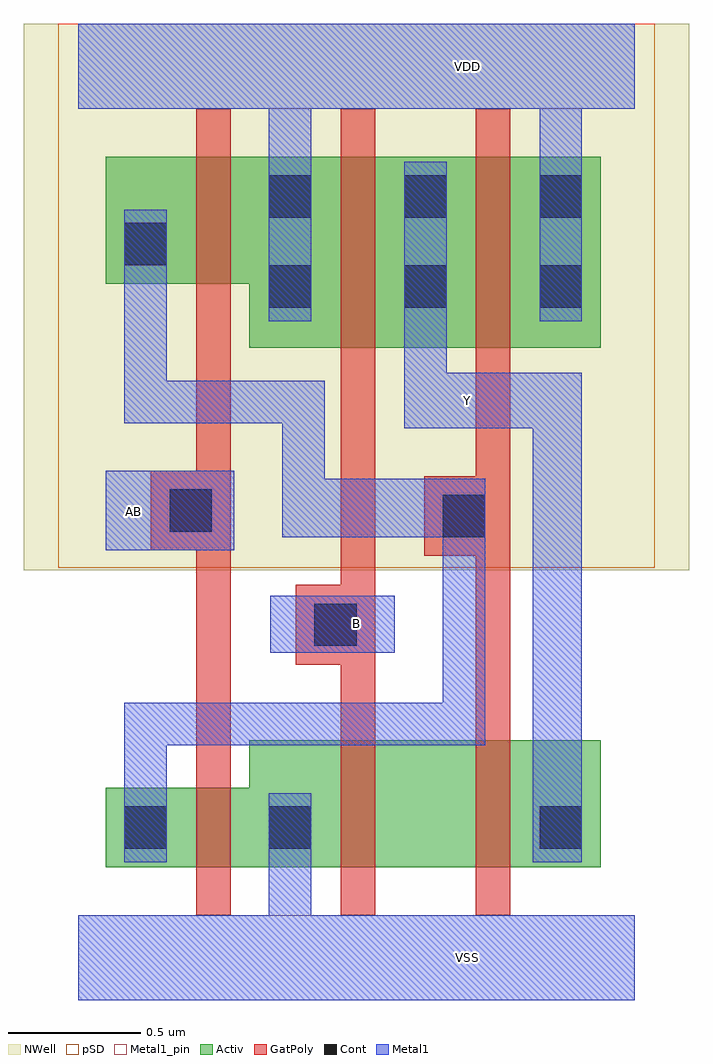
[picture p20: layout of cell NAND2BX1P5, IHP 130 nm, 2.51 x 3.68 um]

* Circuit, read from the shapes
.subckt NAND2BX1P5 AB B VDD VSS Y
XM1 VSS AB n1 VSUBS sg13_lv_nmos w=0.3u l=0.13u
XM2 n2 B VSS VSUBS sg13_lv_nmos w=0.48u l=0.13u
XM3 Y n1 n2 VSUBS sg13_lv_nmos w=0.48u l=0.13u
XM4 VDD AB n1 n3 sg13_lv_pmos w=0.48u l=0.13u
XM5 Y B VDD n3 sg13_lv_pmos w=0.72u l=0.13u
XM6 VDD n1 Y n3 sg13_lv_pmos w=0.72u l=0.13u
.ends

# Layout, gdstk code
import gdstk
lib = gdstk.Library(unit=1e-6, precision=1e-09)
def R(c, l, rs):  # rectangles x0, y0, x1, y1
    for r in rs: c.add(gdstk.rectangle(r[:2], r[2:], *l))
def A(c, l, x, y, w, h, nx, ny, dx, dy):  # array of equal rectangles
    R(c, l, [(x+i*dx, y+j*dy, x+i*dx+w, y+j*dy+h) for i in range(nx) for j in range(ny)])
def P(c, l, *ps):  # polygons
    for p in ps: c.add(gdstk.Polygon(p, *l))
Activ = (1, 0)
GatPoly = (5, 0)
Cont = (6, 0)
Metal1 = (8, 0)
Metal1_pin = (8, 2)
pSD = (14, 0)
NWell = (31, 0)

nand2bx1p5 = lib.new_cell('NAND2BX1P5')
P(nand2bx1p5, Activ, [(0.105,0.34),(0.105,0.64),(0.645,0.64),(0.645,0.82),(1.97,0.82),(1.97,0.34)],
  [(0.645,2.3),(0.645,2.54),(0.105,2.54),(0.105,3.02),(1.97,3.02),(1.97,2.3)])
P(nand2bx1p5, GatPoly, [(0.445,0.16),(0.445,1.535),(0.275,1.535),(0.275,1.835),(0.445,1.835),(0.445,3.2),(0.575,3.2),(0.575,0.16)],
  [(0.99,0.16),(0.99,1.105),(0.82,1.105),(0.82,1.405),(0.99,1.405),(0.99,3.2),(1.12,3.2),(1.12,0.16)],
  [(1.5,0.16),(1.5,1.515),(1.305,1.515),(1.305,1.815),(1.5,1.815),(1.5,3.2),(1.63,3.2),(1.63,0.16)])
A(nand2bx1p5, Cont, 0.72, 2.45, 0.16, 0.16, 3, 2, 0.51, 0.34)
R(nand2bx1p5, Cont, [(0.175,0.41,0.335,0.57), (0.72,0.41,0.88,0.57), (1.74,0.41,1.9,0.57), (0.89,1.175,1.05,1.335), (1.375,1.585,1.535,1.745), (0.345,1.605,0.505,1.765), (0.175,2.61,0.335,2.77)])
R(nand2bx1p5, Metal1, [(0.725,1.15,1.195,1.365), (0.105,1.535,0.59,1.835), (0.72,2.4,0.88,3.2), (1.74,2.4,1.9,3.2), (0,3.2,2.1,3.52)])
P(nand2bx1p5, Metal1, [(0,-0.16),(0,0.16),(0.72,0.16),(0.72,0.62),(0.88,0.62),(0.88,0.16),(2.1,0.16),(2.1,-0.16)],
  [(1.715,0.36),(1.715,1.995),(1.23,1.995),(1.23,3),(1.39,3),(1.39,2.205),(1.9,2.205),(1.9,0.36)],
  [(0.175,0.36),(0.175,0.96),(1.375,0.96),(1.375,1.585),(0.77,1.585),(0.77,2.015),(0.175,2.015),(0.175,2.82),(0.335,2.82),(0.335,2.175),(0.93,2.175),(0.93,1.805),(1.535,1.805),(1.535,0.8),(0.335,0.8),(0.335,0.36)])
R(nand2bx1p5, Metal1_pin, [(0,-0.16,2.1,0.16), (0.725,1.15,1.195,1.365), (0.105,1.535,0.59,1.835), (1.23,1.995,1.9,2.205), (0,3.2,2.1,3.52)])
P(nand2bx1p5, Metal1_pin, [(1.715,0.36),(1.715,1.995),(1.23,1.995),(1.23,3),(1.39,3),(1.39,2.205),(1.9,2.205),(1.9,0.36)])
R(nand2bx1p5, pSD, [(-0.075,1.47,2.175,3.52)])
R(nand2bx1p5, NWell, [(-0.205,1.46,2.305,3.52)])
nand2bx1p5.add(gdstk.Label('VDD', (1.47,3.36), layer=8, texttype=25))
nand2bx1p5.add(gdstk.Label('VSS', (1.47,0), layer=8, texttype=25))
nand2bx1p5.add(gdstk.Label('Y', (1.47,2.1), layer=8, texttype=25))
nand2bx1p5.add(gdstk.Label('AB', (0.21,1.68), layer=8, texttype=25))
nand2bx1p5.add(gdstk.Label('B', (1.05,1.26), layer=8, texttype=25))

lib.write_gds('NAND2BX1P5.gds')
